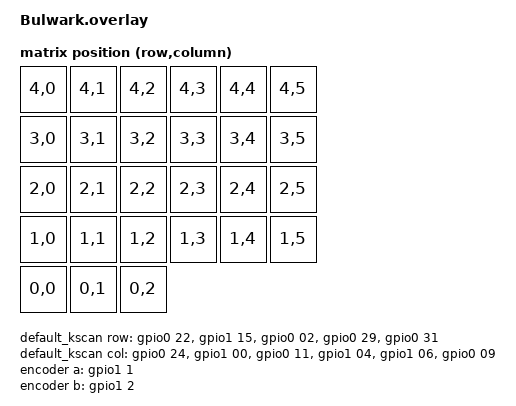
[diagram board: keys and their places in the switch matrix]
#include <dt-bindings/zmk/matrix_transform.h>

/ {

    //===========================================================

    chosen {
         zmk,kscan = &default_kscan;
         zmk,matrix_transform = &default_transform;
    };
    
    //===========================================================
    
    default_kscan: kscan {
        compatible = "zmk, kscan-gpio-matrix";
        label = "default_kscan";
        wakeup-source;
        
        diode-direction = "col2row";
        
        row-gpios
            = <&gpio0 22 (GPIO_ACTIVE_HIGH)>
            , <&gpio1 15 (GPIO_ACTIVE_HIGH)>
            , <&gpio0 02 (GPIO_ACTIVE_HIGH)>
            , <&gpio0 29 (GPIO_ACTIVE_HIGH)>
            , <&gpio0 31 (GPIO_ACTIVE_HIGH)>
            ;
        
        col-gpios
            = <&gpio0 24 (GPIO_ACTIVE_HIGH | GPIO_PULL_DOWN)>
            , <&gpio1 00 (GPIO_ACTIVE_HIGH | GPIO_PULL_DOWN)>
            , <&gpio0 11 (GPIO_ACTIVE_HIGH | GPIO_PULL_DOWN)>
            , <&gpio1 04 (GPIO_ACTIVE_HIGH | GPIO_PULL_DOWN)>
            , <&gpio1 06 (GPIO_ACTIVE_HIGH | GPIO_PULL_DOWN)>
            , <&gpio0 09 (GPIO_ACTIVE_HIGH | GPIO_PULL_DOWN)>
            ;
    };
    
    //===========================================================
    
    default_transform: matrix_transform {
        compatible = "zmk,matrix-transform";
        rows = <5>;
        columns = <6>;

// | R4C0 |  R4C1 |  R4C2 |  R4C3 |  R4C4 |  R4C5 |
// | R3C0 |  R3C1 |  R3C2 |  R3C3 |  R3C4 |  R3C5 |
// | R2C0 |  R2C1 |  R2C2 |  R2C3 |  R2C4 |  R2C5 |
// | R1C0 |  R1C1 |  R1C2 |  R1C3 |  R1C4 |  R1C5 |
// | R0C0 |  R0C1 |  R0C2 |

        map = <
            RC(4,0) RC(4,1) RC(4,2) RC(4,3) RC(4,4) RC(4,5)
            RC(3,0) RC(3,1) RC(3,2) RC(3,3) RC(3,4) RC(3,5)
            RC(2,0) RC(2,1) RC(2,2) RC(2,3) RC(2,4) RC(2,5)
            RC(1,0) RC(1,1) RC(1,2) RC(1,3) RC(1,4) RC(1,5)
            RC(0,0) RC(0,1) RC(0,2)
        >;
    }
    //===========================================================
    
    encoder: encoder {
        compatible = "alps,ec11";
        a-gpios = <&gpio1 1 (GPIO_ACTIVE_HIGH | GPIO_PULL_UP)>;
        b-gpios = <&gpio1 2 (GPIO_ACTIVE_HIGH | GPIO_PULL_UP)>;
        steps = <20>;
        status = "okay";
    }
}
